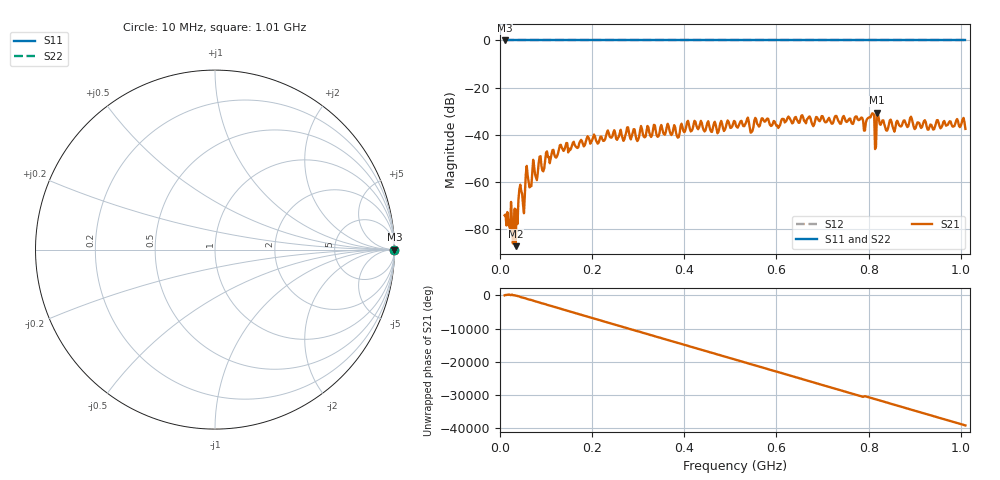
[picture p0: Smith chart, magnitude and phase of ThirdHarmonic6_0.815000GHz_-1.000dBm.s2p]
! 8/16/2025 3:07:31 AM
! C:\ANRITSUVNA\TEMP\TEMP.S2P
! CHANNEL.1
! TR.MEASUREMENT
! RAW.DATA
! RF.CORRECTION.OFF
! AVERAGING.OFF
! IF.BANDWIDTH: 5KHZ
! SWEEPTYPE:  FREQ.SWEEP(Linear)
! Reference Plane Port Info
! PORT:  PORT1  PORT2
! DISTANCE:  0  m  0  m
! TIME:  0  s  0  s
! PHASE.OFFSET:  0  deg.  0  deg.
! LOSS:  0  dB  0  dB
! REF.LOSS:  0  dB  0  dB
! REF.FREQ:  0  Hz  0  Hz
! Power Info
! POWER:  -20  dBm  -20  dBm
! EFF.POWER:  -20  dBm  -20  dBm
! SOURCE.ATTEN:  0  dB  0  dB
! TEST.ATTEN:  0  dB  0  dB
# GHZ S RI R 50.0
! FREQ.GHZ  S11RE  S11IM  S21RE  S21IM  S12RE  S12IM  S22RE  S22IM
!; PortSelection: Port_12
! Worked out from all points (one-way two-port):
!   501 points, 10 MHz to 1.01 GHz, reference 50 ohm
!   highest |S21| = -30.65 dB at 818 MHz (marker M1); lowest = -87.2 dB at 34 MHz (marker M2)
!   lowest |S11| = 0.0 dB at 10 MHz (marker M3)
!   |S11| at or under -10 dB: nowhere
!   |S22| runs from 0.0 to 0.0 dB; largest |S21 - S12| = 1
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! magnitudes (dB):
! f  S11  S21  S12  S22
! 10 MHz  0.0  -74.2  0.0  0.0
! 34 MHz  0.0  -87.2  0.0  0.0
! 44 MHz  0.0  -61.2  0.0  0.0
! 50 MHz  0.0  -69.7  0.0  0.0
! 60 MHz  0.0  -57.2  0.0  0.0
! 66 MHz  0.0  -61.9  0.0  0.0
! 74 MHz  0.0  -53.2  0.0  0.0
! 94 MHz  0.0  -55.5  0.0  0.0
! 102 MHz  0.0  -47.1  0.0  0.0
! 178 MHz  0.0  -42.7  0.0  0.0
! 276 MHz  0.0  -36.8  0.0  0.0
! 344 MHz  0.0  -40.6  0.0  0.0
! 510 MHz  0.0  -34.4  0.0  0.0
! 678 MHz  0.0  -35.7  0.0  0.0
! 774 MHz  0.0  -32.3  0.0  0.0
! 792 MHz  0.0  -38.2  0.0  0.0
! 808 MHz  0.0  -30.9  0.0  0.0
! 812 MHz  0.0  -31.7  0.0  0.0
! 818 MHz  0.0  -30.7  0.0  0.0
! 822 MHz  0.0  -33.0  0.0  0.0
! 844 MHz  0.0  -35.5  0.0  0.0
! 1.01 GHz  0.0  -37.5  0.0  0.0
